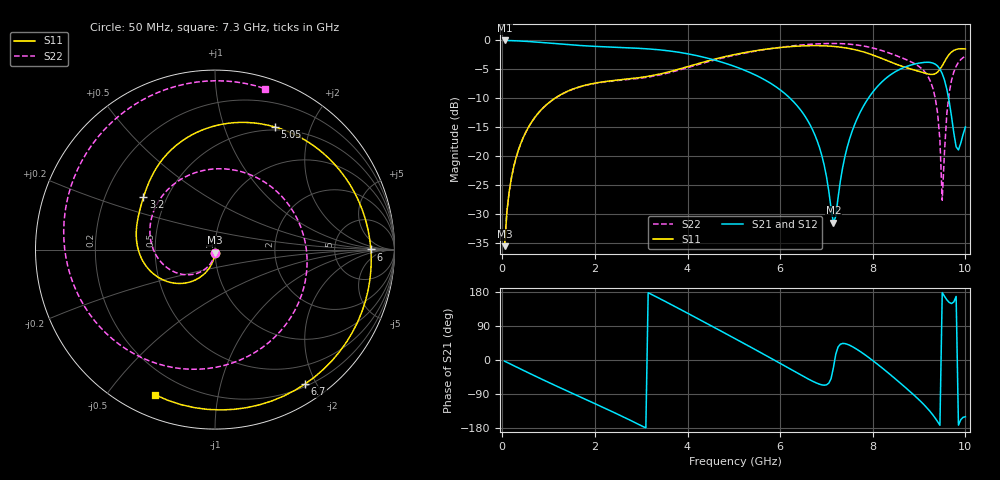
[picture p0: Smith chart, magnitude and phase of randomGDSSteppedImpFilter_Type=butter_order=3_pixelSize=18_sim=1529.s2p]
! freq	dB(S11)	phase(S11)	dB(S12)	phase(S12)
!  dB(S21)	phase(S21)	dB(S22)	phase(S22)
!S-par simulation data
#  GHz  S  DB  R 50
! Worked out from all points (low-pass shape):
!   200 points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, 50 MHz to 10 GHz, reference 50 ohm
!   highest |S21| = -0.01 dB at 50 MHz (marker M1); lowest = -31.5 dB at 7.15 GHz (marker M2)
!   |S21| within 3 dB of the highest: start of sweep to 4.402 GHz
!   lowest |S11| = -35.5 dB at 50 MHz (marker M3), VSWR 1.03, Z = 49.9 - j1.67 ohm
!   |S11| at or under -10 dB: start of sweep to 1.134 GHz
!   |S22| runs from -35.5 to -0.5 dB; largest |S21 - S12| = 0
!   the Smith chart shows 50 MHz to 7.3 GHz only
!   S11 on the Smith chart (normalised r, x): 50 MHz: 1.00, -0.03; 3.2 GHz: 0.37, +0.29; 5.05 GHz: 0.46, +1.50; 6 GHz: 14, +0; 6.7 GHz: 0.23, -1.85; 7.3 GHz: 0.10, -0.67
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0.05  -35.55 -92.4  -0.01 -3.1  -0.01 -3.1  -35.52 -93.3
0.2  -23.62 -100.4  -0.04 -12.1  -0.04 -12.1  -23.63 -104.3
0.5  -15.97 -115.6  -0.15 -30.0  -0.15 -30.0  -15.98 -125.5
1.75  -7.83 -170.7  -0.91 -101.2  -0.91 -101.2  -7.86 147.0
2.55  -6.80 162.2  -1.22 -146.5  -1.22 -146.5  -6.88 83.8
3.2  -6.13 143.8  -1.49 174.5  -1.49 174.5  -6.27 24.3
3.4  -5.81 138.0  -1.63 162.0  -1.63 162.0  -5.96 5.1
4.3  -3.85 104.2  -2.81 104.0  -2.81 104.0  -4.00 -77.1
5.05  -2.38 64.1  -4.59 54.8  -4.59 54.8  -2.49 -135.2
6  -1.23 0.0  -8.53 -9.0  -8.53 -9.0  -1.20 159.7
6.7  -0.90 -56.2  -15.44 -55.9  -15.44 -55.9  -0.64 113.1
7.15  -1.03 -97.4  -31.51 -20.3  -31.51 -20.3  -0.53 82.8
7.3  -1.16 -112.4  -24.30 41.7  -24.30 41.7  -0.55 72.7
7.85  -2.11 -174.8  -10.66 12.2  -10.66 12.2  -1.04 35.9
8.35  -3.62 115.4  -6.13 -35.7  -6.13 -35.7  -2.16 4.5
8.8  -4.89 47.3  -4.31 -82.7  -4.31 -82.7  -3.60 -21.9
9.25  -5.88 -5.4  -3.82 -137.7  -3.82 -137.7  -7.17 -60.5
9.4  -5.47 -13.9  -4.43 -162.7  -4.43 -162.7  -12.58 -86.8
9.5  -4.37 -20.0  -5.74 177.7  -5.74 177.7  -27.60 -161.8
9.65  -2.42 -37.9  -10.55 151.9  -10.55 151.9  -9.09 54.8
9.8  -1.56 -60.4  -18.38 167.7  -18.38 167.7  -4.47 23.9
10  -1.47 -86.9  -14.94 -149.7  -14.94 -149.7  -2.72 -1.9
